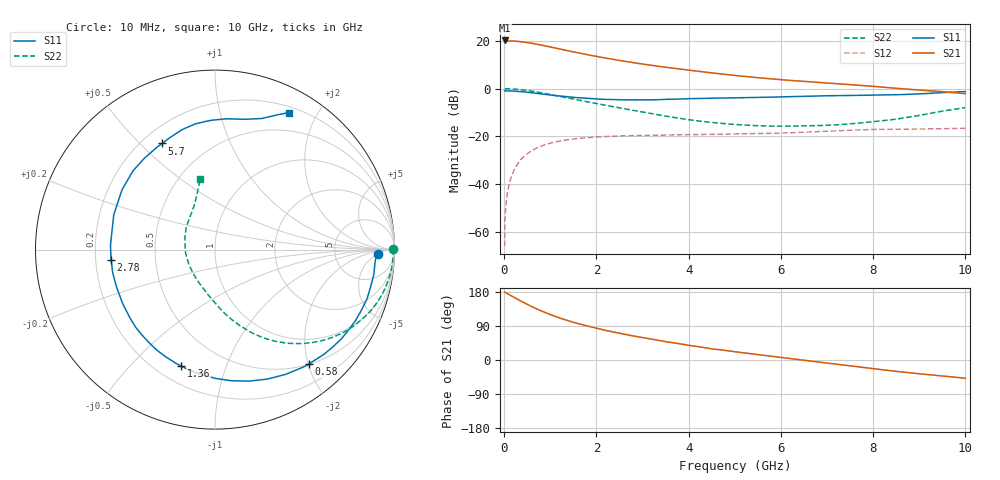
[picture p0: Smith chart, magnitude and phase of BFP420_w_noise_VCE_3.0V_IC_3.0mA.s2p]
! Infineon Technologies  Discrete & RF Semiconductors
! BFP420
! VCE =  3.0 V,  IC =  3.0 mA
! Common Emitter S-Parameters:  Jan 2016
# GHz  S  MA  R  50
!  f  S11  S21  S12  S22
! GHz  MAG  ANG  MAG  ANG  MAG  ANG  MAG  ANG
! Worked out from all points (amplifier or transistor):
!   233 points, 10 MHz to 10 GHz, reference 50 ohm
!   highest |S21| = 20.2 dB at 10 MHz (marker M1)
!   |S21| within 3 dB of that: start of sweep to 1.068 GHz
!   unconditionally stable (mu >= 1): 3.526 GHz to end of sweep
!   at 200 MHz: K = 0.05, MSG = 27.3 dB, |S12| = -34.7 dB
!   at 1.74 GHz: K = 0.45, MSG = 17.6 dB, |S12| = -20.6 dB
!   at 10 GHz: K = 1.17, MAG = 4.7 dB, |S12| = -16.6 dB
!   lowest NFmin = 0.57 dB at 900 MHz
!   S11 on the Smith chart (normalised r, x): 10 MHz: 19, -5; 580 MHz: 0.51, -2.01; 1.36 GHz: 0.30, -0.71; 2.78 GHz: 0.27, -0.05; 5.7 GHz: 0.28, +0.58; 10 GHz: 0.27, +1.64
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0.01  0.9071 -1.6  10.22 179.2  0.0005 67.1  0.992 0.1
0.02  0.8985 -1.7  9.963 178.8  0.0019 87.4  0.9925 -0.9
0.04  0.8954 -3.6  9.98 177.3  0.0037 86.8  0.9927 -1.9
0.13  0.8928 -11.6  10.01 171.1  0.012 83.1  0.9878 -6.6
0.2  0.8901 -17.9  9.941 166.4  0.0184 79.9  0.9801 -10.1
0.36  0.8669 -32.0  9.629 155.8  0.0322 72.5  0.951 -17.9
0.58  0.8241 -50.6  8.976 142.1  0.0489 62.6  0.8905 -27.7
0.7  0.799 -60.4  8.577 135.2  0.0568 57.9  0.8525 -32.7
0.9  0.7568 -75.5  7.835 124.7  0.0676 50.7  0.786 -40.0
1.18  0.7036 -94.9  6.859 111.9  0.079 42.3  0.6949 -48.9
1.36  0.6755 -106.2  6.293 104.7  0.0845 37.8  0.642 -53.8
1.68  0.6368 -124.5  5.438 93.5  0.0919 31.1  0.558 -61.4
1.92  0.6159 -136.8  4.893 86.0  0.0958 26.9  0.5037 -66.4
2.2  0.5955 -149.9  4.365 78.1  0.0993 22.8  0.4488 -71.6
2.78  0.5812 -174.4  3.522 63.9  0.1037 15.9  0.3531 -82.1
3.4  0.5898 164.3  2.893 50.8  0.1062 10.8  0.2767 -93.7
4.4  0.6281 138.3  2.193 31.5  0.11 4.9  0.2002 -118.4
5.1  0.6449 126.0  1.847 20.2  0.1126 2.1  0.1751 -137.1
5.7  0.6608 116.5  1.63 11.3  0.1152 0.2  0.1647 -154.4
6.8  0.7016 101.4  1.351 -5.0  0.1253 -3.4  0.1679 174.1
8.4  0.7407 78.7  1.035 -28.6  0.1407 -14.0  0.223 130.0
10  0.8661 61.7  0.782 -48.2  0.1479 -21.6  0.4006 101.9
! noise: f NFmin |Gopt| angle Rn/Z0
0.9  0.57  0.35  33  0.18
1.8  1.02  0.2  79  0.14
2.4  1.1  0.23  104  0.14
3  1.25  0.24  144  0.11
4  1.46  0.33  -159  0.1
5  1.9  0.39  -128  0.22
6  2.46  0.48  -107  0.35
